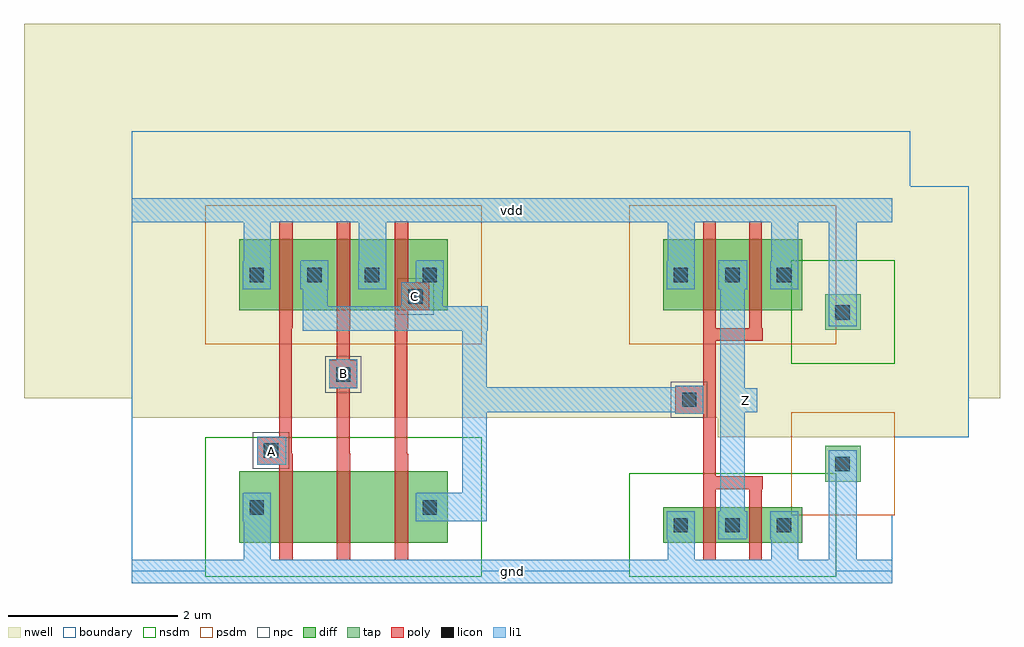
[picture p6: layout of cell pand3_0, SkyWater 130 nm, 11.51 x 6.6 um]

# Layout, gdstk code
import gdstk
lib = gdstk.Library(unit=1e-6, precision=1e-09)
def R(c, l, rs):  # rectangles x0, y0, x1, y1
    for r in rs: c.add(gdstk.rectangle(r[:2], r[2:], *l))
def A(c, l, x, y, w, h, nx, ny, dx, dy):  # array of equal rectangles
    R(c, l, [(x+i*dx, y+j*dy, x+i*dx+w, y+j*dy+h) for i in range(nx) for j in range(ny)])
nwell = (64, 20)
diff = (65, 20)
tap = (65, 44)
poly = (66, 20)
licon = (66, 44)
li1 = (67, 20)
nsdm = (93, 44)
psdm = (94, 20)
npc = (95, 20)
boundary = (235, 4)

contact_10 = lib.new_cell('contact_10')
R(contact_10, nwell, [(-1.27,-1.27,1.69,1.69)])
R(contact_10, diff, [(0,0,0.42,0.42)])
R(contact_10, licon, [(0.12,0.12,0.29,0.29)])
R(contact_10, li1, [(0.04,0.04,0.37,0.37)])
R(contact_10, psdm, [(-0.4,-0.4,0.82,0.82)])
R(contact_10, boundary, [(-1.27,-1.27,1.69,1.69)])

pmos_m1_w0_840_sli_dli = lib.new_cell('pmos_m1_w0_840_sli_dli')
R(pmos_m1_w0_840_sli_dli, nwell, [(-1.27,-1.27,2.37,2.11)])
R(pmos_m1_w0_840_sli_dli, diff, [(0,0,1.1,0.84)])
R(pmos_m1_w0_840_sli_dli, poly, [(0.47,-0.21,0.62,1.05), (0.47,-0.21,0.63,1.05)])
R(pmos_m1_w0_840_sli_dli, li1, [(0.05,0.25,0.37,0.59), (0.73,0.25,1.05,0.59)])
R(pmos_m1_w0_840_sli_dli, psdm, [(-0.4,-0.4,1.5,1.24)])
R(pmos_m1_w0_840_sli_dli, boundary, [(-1.27,-1.27,2.37,2.11)])
pmos_m1_w0_840_sli_dli.add(gdstk.Reference(contact_10, (0,0.21)))
pmos_m1_w0_840_sli_dli.add(gdstk.Reference(contact_10, (0.68,0.21)))
pmos_m1_w0_840_sli_dli.add(gdstk.Label('G', (0.55,0.42), layer=66, texttype=20))
pmos_m1_w0_840_sli_dli.add(gdstk.Label('S', (0.21,0.42), layer=67, texttype=20))
pmos_m1_w0_840_sli_dli.add(gdstk.Label('D', (0.89,0.42), layer=67, texttype=20))

contact_9 = lib.new_cell('contact_9')
R(contact_9, diff, [(0,0,0.42,0.42)])
R(contact_9, licon, [(0.12,0.12,0.29,0.29)])
R(contact_9, li1, [(0.04,0.04,0.37,0.37)])
R(contact_9, nsdm, [(-0.4,-0.4,0.82,0.82)])
R(contact_9, boundary, [(-0.4,-0.4,0.82,0.82)])

nmos_m1_w0_840_sli_dacti = lib.new_cell('nmos_m1_w0_840_sli_dactive')
R(nmos_m1_w0_840_sli_dacti, diff, [(0,0,1.1,0.84), (0.68,0.21,1.1,0.63)])
R(nmos_m1_w0_840_sli_dacti, poly, [(0.47,-0.21,0.62,1.05), (0.47,-0.21,0.63,1.05)])
R(nmos_m1_w0_840_sli_dacti, li1, [(0.05,0.25,0.37,0.59)])
R(nmos_m1_w0_840_sli_dacti, nsdm, [(-0.4,-0.4,1.5,1.24)])
R(nmos_m1_w0_840_sli_dacti, boundary, [(-0.4,-0.4,1.5,1.24)])
nmos_m1_w0_840_sli_dacti.add(gdstk.Reference(contact_9, (0,0.21)))
nmos_m1_w0_840_sli_dacti.add(gdstk.Label('G', (0.55,0.42), layer=66, texttype=20))
nmos_m1_w0_840_sli_dacti.add(gdstk.Label('S', (0.21,0.42), layer=67, texttype=20))
nmos_m1_w0_840_sli_dacti.add(gdstk.Label('D', (0.89,0.42), layer=65, texttype=20))

nmos_m1_w0_840_sactive_d = lib.new_cell('nmos_m1_w0_840_sactive_dactive')
R(nmos_m1_w0_840_sactive_d, diff, [(0,0,1.1,0.84), (0,0.21,0.42,0.63), (0.68,0.21,1.1,0.63)])
R(nmos_m1_w0_840_sactive_d, poly, [(0.47,-0.21,0.62,1.05), (0.47,-0.21,0.63,1.05)])
R(nmos_m1_w0_840_sactive_d, nsdm, [(-0.4,-0.4,1.5,1.24)])
R(nmos_m1_w0_840_sactive_d, boundary, [(-0.4,-0.4,1.5,1.24)])
nmos_m1_w0_840_sactive_d.add(gdstk.Label('G', (0.55,0.42), layer=66, texttype=20))
nmos_m1_w0_840_sactive_d.add(gdstk.Label('S', (0.21,0.42), layer=65, texttype=20))
nmos_m1_w0_840_sactive_d.add(gdstk.Label('D', (0.89,0.42), layer=65, texttype=20))

c_nmos_m1_w0_840_sactive_d = lib.new_cell('nmos_m1_w0_840_sactive_dli')
R(c_nmos_m1_w0_840_sactive_d, diff, [(0,0,1.1,0.84), (0,0.21,0.42,0.63)])
R(c_nmos_m1_w0_840_sactive_d, poly, [(0.47,-0.21,0.62,1.05), (0.47,-0.21,0.63,1.05)])
R(c_nmos_m1_w0_840_sactive_d, li1, [(0.73,0.25,1.05,0.59)])
R(c_nmos_m1_w0_840_sactive_d, nsdm, [(-0.4,-0.4,1.5,1.24)])
R(c_nmos_m1_w0_840_sactive_d, boundary, [(-0.4,-0.4,1.5,1.24)])
c_nmos_m1_w0_840_sactive_d.add(gdstk.Reference(contact_9, (0.68,0.21)))
c_nmos_m1_w0_840_sactive_d.add(gdstk.Label('G', (0.55,0.42), layer=66, texttype=20))
c_nmos_m1_w0_840_sactive_d.add(gdstk.Label('S', (0.21,0.42), layer=65, texttype=20))
c_nmos_m1_w0_840_sactive_d.add(gdstk.Label('D', (0.89,0.42), layer=67, texttype=20))

contact_13 = lib.new_cell('contact_13')
R(contact_13, poly, [(0,0,0.33,0.33)])
R(contact_13, licon, [(0.08,0.08,0.25,0.25)])
R(contact_13, li1, [(0,0,0.33,0.33)])
R(contact_13, npc, [(-0.05,-0.05,0.38,0.38)])
R(contact_13, boundary, [(-0.05,-0.05,0.38,0.38)])

pnand3_0 = lib.new_cell('pnand3_0')
R(pnand3_0, nwell, [(-1.27,2.04,6.27,6.46)])
A(pnand3_0, poly, 1.74, 1.39, 0.15, 1.48, 3, 1, 0.68, 0)
R(pnand3_0, poly, [(1.65,1.26,1.74,1.59), (2.42,2.16,2.5,2.49), (3.1,3.08,3.34,3.41)])
R(pnand3_0, li1, [(0,-0.14,5,0.14), (1.32,-0.14,1.64,0.59), (3.52,0.59,4.05,0.93), (3.9,0.59,4.19,2.98), (1.48,1.26,1.82,1.58), (2.33,2.16,2.66,2.5), (2.02,2.84,2.31,3.13), (2.16,2.84,4.05,3.13), (3.38,2.84,3.67,3.13), (3.52,2.84,4.05,3.13), (3.9,2.84,4.2,3.13), (2.02,2.98,2.31,3.5), (3.38,2.98,3.67,3.5), (3.18,3.08,3.5,3.4), (1.32,3.33,1.64,4.4), (2.68,3.33,3,4.4), (0,4.12,5,4.4)])
R(pnand3_0, boundary, [(0,0,5,4.26), (0,0,5,4.26)])
pnand3_0.add(gdstk.Reference(pmos_m1_w0_840_sli_dli, (1.27,3.08)))
pnand3_0.add(gdstk.Reference(pmos_m1_w0_840_sli_dli, (1.95,3.08)))
pnand3_0.add(gdstk.Reference(pmos_m1_w0_840_sli_dli, (2.63,3.08)))
pnand3_0.add(gdstk.Reference(nmos_m1_w0_840_sli_dacti, (1.27,0.34)))
pnand3_0.add(gdstk.Reference(nmos_m1_w0_840_sactive_d, (1.95,0.34)))
pnand3_0.add(gdstk.Reference(c_nmos_m1_w0_840_sactive_d, (2.63,0.34)))
pnand3_0.add(gdstk.Reference(contact_13, (1.48,1.26)))
pnand3_0.add(gdstk.Reference(contact_13, (2.33,2.16)))
pnand3_0.add(gdstk.Reference(contact_13, (3.18,3.08)))
pnand3_0.add(gdstk.Label('A', (1.65,1.42), layer=67, texttype=20))
pnand3_0.add(gdstk.Label('B', (2.495,2.33), layer=67, texttype=20))
pnand3_0.add(gdstk.Label('C', (3.34,3.24), layer=67, texttype=20))
pnand3_0.add(gdstk.Label('Z', (4.05,2.985), layer=67, texttype=20))
pnand3_0.add(gdstk.Label('gnd', (2.5,0), layer=67, texttype=20))
pnand3_0.add(gdstk.Label('vdd', (2.5,4.26), layer=67, texttype=20))

pmos_m2_w0_840_sli_dli_d = lib.new_cell('pmos_m2_w0_840_sli_dli_da_p')
R(pmos_m2_w0_840_sli_dli_d, nwell, [(-1.27,-1.27,2.91,2.11)])
R(pmos_m2_w0_840_sli_dli_d, diff, [(0,0,1.64,0.84)])
R(pmos_m2_w0_840_sli_dli_d, poly, [(0.47,-0.36,1.17,-0.21), (0.47,-0.21,0.62,1.05), (1.01,-0.21,1.16,1.05)])
R(pmos_m2_w0_840_sli_dli_d, li1, [(0.05,0.25,0.37,0.59), (0.65,0.25,0.99,0.59), (1.27,0.25,1.59,0.59)])
R(pmos_m2_w0_840_sli_dli_d, psdm, [(-0.4,-0.4,2.04,1.24)])
R(pmos_m2_w0_840_sli_dli_d, boundary, [(-1.27,-1.27,2.91,2.11)])
pmos_m2_w0_840_sli_dli_d.add(gdstk.Reference(contact_10, (0,0.21)))
pmos_m2_w0_840_sli_dli_d.add(gdstk.Reference(contact_10, (0.61,0.21)))
pmos_m2_w0_840_sli_dli_d.add(gdstk.Reference(contact_10, (1.22,0.21)))
pmos_m2_w0_840_sli_dli_d.add(gdstk.Label('G', (0.82,-0.285), layer=66, texttype=20))
pmos_m2_w0_840_sli_dli_d.add(gdstk.Label('S', (0.21,0.42), layer=67, texttype=20))
pmos_m2_w0_840_sli_dli_d.add(gdstk.Label('S', (1.43,0.42), layer=67, texttype=20))
pmos_m2_w0_840_sli_dli_d.add(gdstk.Label('D', (0.82,0.42), layer=67, texttype=20))

nmos_m2_w0_420_sli_dli_d = lib.new_cell('nmos_m2_w0_420_sli_dli_da_p')
R(nmos_m2_w0_420_sli_dli_d, diff, [(0,0,1.64,0.42)])
R(nmos_m2_w0_420_sli_dli_d, poly, [(0.47,-0.21,0.62,0.63), (1.01,-0.21,1.16,0.63), (0.47,0.63,1.17,0.78)])
R(nmos_m2_w0_420_sli_dli_d, li1, [(0.05,0.05,0.37,0.37), (0.65,0.05,0.99,0.37), (1.27,0.05,1.59,0.37)])
R(nmos_m2_w0_420_sli_dli_d, nsdm, [(-0.4,-0.4,2.04,0.82)])
R(nmos_m2_w0_420_sli_dli_d, boundary, [(-0.4,-0.4,2.04,0.82)])
nmos_m2_w0_420_sli_dli_d.add(gdstk.Reference(contact_9, (0,0)))
nmos_m2_w0_420_sli_dli_d.add(gdstk.Reference(contact_9, (0.61,0)))
nmos_m2_w0_420_sli_dli_d.add(gdstk.Reference(contact_9, (1.22,0)))
nmos_m2_w0_420_sli_dli_d.add(gdstk.Label('G', (0.82,0.705), layer=66, texttype=20))
nmos_m2_w0_420_sli_dli_d.add(gdstk.Label('S', (1.43,0.21), layer=67, texttype=20))
nmos_m2_w0_420_sli_dli_d.add(gdstk.Label('S', (0.21,0.21), layer=67, texttype=20))
nmos_m2_w0_420_sli_dli_d.add(gdstk.Label('D', (0.82,0.21), layer=67, texttype=20))

contact_11 = lib.new_cell('contact_11')
R(contact_11, nwell, [(-1.27,-1.27,1.69,1.69)])
R(contact_11, tap, [(0,0,0.42,0.42)])
R(contact_11, licon, [(0.12,0.12,0.29,0.29)])
R(contact_11, li1, [(0.04,0.04,0.37,0.37)])
R(contact_11, nsdm, [(-0.4,-0.4,0.82,0.82)])
R(contact_11, boundary, [(-1.27,-1.27,1.69,1.69)])

contact_12 = lib.new_cell('contact_12')
R(contact_12, tap, [(0,0,0.42,0.42)])
R(contact_12, licon, [(0.12,0.12,0.29,0.29)])
R(contact_12, li1, [(0.04,0.04,0.37,0.37)])
R(contact_12, psdm, [(-0.4,-0.4,0.82,0.82)])
R(contact_12, boundary, [(-0.4,-0.4,0.82,0.82)])

pinv_10 = lib.new_cell('pinv_10')
R(pinv_10, nwell, [(-1.27,2.04,5.24,6.46)])
R(pinv_10, poly, [(1.74,1.12,1.89,2.72), (1.58,1.86,1.74,2.19)])
R(pinv_10, li1, [(0,-0.14,3.97,0.14), (1.32,-0.14,1.64,0.39), (2.54,-0.14,2.86,0.39), (3.22,0,3.55,1.27), (1.94,0.39,2.23,3.67), (1.41,1.86,1.74,2.18), (2.09,1.88,2.38,2.16), (3.22,3.06,3.55,4.26), (1.32,3.33,1.64,4.4), (2.54,3.33,2.86,4.4), (0,4.12,3.97,4.4)])
R(pinv_10, boundary, [(0,0,3.97,4.26), (0,0,3.97,4.26)])
pinv_10.add(gdstk.Reference(pmos_m2_w0_840_sli_dli_d, (1.27,3.08)))
pinv_10.add(gdstk.Reference(nmos_m2_w0_420_sli_dli_d, (1.27,0.34)))
pinv_10.add(gdstk.Reference(contact_11, (3.18,2.85)))
pinv_10.add(gdstk.Reference(contact_12, (3.18,1.06)))
pinv_10.add(gdstk.Reference(contact_13, (1.41,1.86)))
pinv_10.add(gdstk.Label('A', (1.575,2.02), layer=67, texttype=20))
pinv_10.add(gdstk.Label('Z', (2.235,2.02), layer=67, texttype=20))
pinv_10.add(gdstk.Label('gnd', (1.985,0), layer=67, texttype=20))
pinv_10.add(gdstk.Label('vdd', (1.985,4.26), layer=67, texttype=20))

pdriver_3 = lib.new_cell('pdriver_3')
R(pdriver_3, nwell, [(-1.27,2.04,5.24,6.46)])
R(pdriver_3, li1, [(0,-0.14,3.97,0.14), (1.41,1.86,1.74,2.18), (2.09,1.88,2.38,2.16), (0,4.12,3.97,4.4)])
R(pdriver_3, boundary, [(0,0,3.97,4.26), (0,0,3.97,4.26)])
pdriver_3.add(gdstk.Reference(pinv_10, (0,0)))
pdriver_3.add(gdstk.Label('Z', (2.235,2.02), layer=67, texttype=20))
pdriver_3.add(gdstk.Label('A', (1.575,2.02), layer=67, texttype=20))
pdriver_3.add(gdstk.Label('gnd', (1.985,0), layer=67, texttype=20))
pdriver_3.add(gdstk.Label('vdd', (1.985,4.26), layer=67, texttype=20))

pand3_0 = lib.new_cell('pand3_0')
R(pand3_0, li1, [(0,-0.14,8.97,0.14), (1.48,1.26,1.82,1.58), (3.9,1.88,4.19,2.17), (4.05,1.88,6.58,2.17), (7.09,1.88,7.38,2.16), (3.9,2.02,4.19,2.98), (2.33,2.16,2.66,2.5), (3.18,3.08,3.5,3.4), (0,4.12,8.97,4.4)])
R(pand3_0, boundary, [(0,0,8.97,4.26), (0,0,8.97,4.26)])
pand3_0.add(gdstk.Reference(pnand3_0, (0,0)))
pand3_0.add(gdstk.Reference(pdriver_3, (5,0)))
pand3_0.add(gdstk.Label('Z', (7.235,2.02), layer=67, texttype=20))
pand3_0.add(gdstk.Label('A', (1.65,1.42), layer=67, texttype=20))
pand3_0.add(gdstk.Label('B', (2.495,2.33), layer=67, texttype=20))
pand3_0.add(gdstk.Label('C', (3.34,3.24), layer=67, texttype=20))
pand3_0.add(gdstk.Label('gnd', (4.485,0), layer=67, texttype=20))
pand3_0.add(gdstk.Label('vdd', (4.485,4.26), layer=67, texttype=20))

lib.write_gds('pand3_0.gds')
